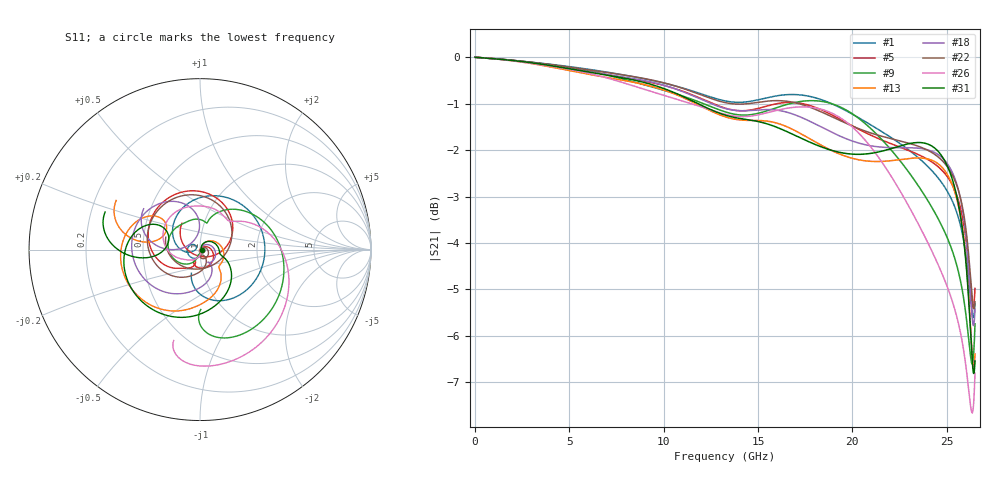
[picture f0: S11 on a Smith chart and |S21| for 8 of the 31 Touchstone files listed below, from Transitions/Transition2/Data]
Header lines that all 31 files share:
! TOUCHSTONE file generated by CST MICROWAVE STUDIO
! Project name: OSHPark_FR408_Transition2.cst
! Header version: 2015
! Port assignment regex: !\s*Touchstone port\s*([0-9]+)\s*=\s*CST MWS port\s*([0-9]+)\s*\(\"(.*)\"\)(\s*mode\s*([0-9]+))?.*
! Touchstone port assignment:
! Touchstone port 1 = CST MWS port 1 ("")
! Touchstone port 2 = CST MWS port 2 ("")
# GHz S MA R 50
Fixed: Cap_Disk_XOffset = 0, Cap_Disk2_YCenter = -1.03, Cap_Disk_YCenter = 1.03, Cap_Disk_XCenter = 7.39, Cap_Disk_Radius = 0.5, BottomSupport_Left_YMax = 4.76, BottomSupport_Left_YMin = 3.74, BottomSupport_Right_YMax = -3.74, BottomSupport_Right_YMin = -4.76, BottomSupport_XMax = 11.64, BottomSupport_XMin = 6.89, BottomSupport_ZMax = -1.64084, BottomSupport_ZMin = -3.58, Cu1_Thickness = 0.03556, Cu2_Thickness = 0.01778, Fr408Core_Thickness = 1.1938, PCBThickness = 1.6256, Prepreg1_Zmin = -0.20574, Prepreg_Thickness = 0.17018, RFTraceYMax = 0.17145, RFTrace_XMax = 15, RFTrace_XMin = 11.46, RFTrace_YMin = -0.17145, SMA_CenterCond_Inner_XMax = 11.64, SMA_CenterCond_Radius = 0.6, SMA_Dielectric_InnerRadius = 0.6, SMA_Dielectric_OuterRadius = 2, SMA_Dielectric_XMax = 5.62, SMA_Dielectric_XMin = 0, SMA_Dielectric_YCenter = 0, SMA_Dielectric_ZCenter = 0, SMA_Footprint_Center_XMax = 12.49, SMA_Footprint_Center_XMin = 7.74, SMA_Footprint_Center_YMax = 0.75, SMA_Footprint_Center_YMin = -0.75, SMA_OuterCond_InnerRadius = 2, SMA_OuterCond_OuterRadius = 3, SMA_OuterCond_XMax = 6.89, SMA_XMax = 6.67, SMA_XMin = 0
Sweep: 5.3 MHz to 26.5 GHz
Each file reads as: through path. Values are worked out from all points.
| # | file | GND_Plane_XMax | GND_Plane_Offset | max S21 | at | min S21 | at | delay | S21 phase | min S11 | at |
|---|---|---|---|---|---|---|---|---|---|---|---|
| 1 | OSHPark_FR408_Transition2_SParams.s2p | 12 | 2.875 | 0.00 dB | 10.6 MHz | -5.6 dB | 26.42 GHz | 81.1 ps | -20 deg at 13.26 GHz | -40.0 dB | 3.583 GHz |
| 2 | OSHPark_FR408_Transition2_SParams_Swept_1.s2p | 11.5 | 2.8 | 0.00 dB | 5.3 MHz | -7.7 dB | 26.39 GHz | 82.3 ps | -26 deg at 13.26 GHz | -38.2 dB | 5.3 MHz |
| 3 | OSHPark_FR408_Transition2_SParams_Swept_2.s2p | 11.75 | 2.8 | 0.00 dB | 5.3 MHz | -6.5 dB | 26.35 GHz | 81.7 ps | -23 deg at 13.26 GHz | -38.2 dB | 5.3 MHz |
| 4 | OSHPark_FR408_Transition2_SParams_Swept_3.s2p | 12 | 2.8 | 0.00 dB | 5.3 MHz | -5.6 dB | 26.38 GHz | 81 ps | -20 deg at 13.26 GHz | -40.7 dB | 1.897 GHz |
| 5 | OSHPark_FR408_Transition2_SParams_Swept_4.s2p | 12.25 | 2.8 | 0.00 dB | 5.3 MHz | -5.4 dB | 26.4 GHz | 80.7 ps | -19 deg at 13.26 GHz | -40.0 dB | 784.4 MHz |
| 6 | OSHPark_FR408_Transition2_SParams_Swept_5.s2p | 12.5 | 2.8 | 0.00 dB | 5.3 MHz | -5.7 dB | 26.42 GHz | 80.7 ps | -20 deg at 13.26 GHz | -39.5 dB | 402.8 MHz |
| 7 | OSHPark_FR408_Transition2_SParams_Swept_6.s2p | 12.75 | 2.8 | 0.00 dB | 5.3 MHz | -6.6 dB | 26.43 GHz | 80.6 ps | -20 deg at 13.26 GHz | -39.3 dB | 243.8 MHz |
| 8 | OSHPark_FR408_Transition2_SParams_Swept_8.s2p | 11.5 | 2.825 | 0.00 dB | 5.3 MHz | -7.9 dB | 26.35 GHz | 82.3 ps | -26 deg at 13.26 GHz | -39.5 dB | 5.3 MHz |
| 9 | OSHPark_FR408_Transition2_SParams_Swept_9.s2p | 11.75 | 2.825 | 0.00 dB | 5.3 MHz | -6.6 dB | 26.35 GHz | 81.8 ps | -23 deg at 13.26 GHz | -39.5 dB | 5.3 MHz |
| 10 | OSHPark_FR408_Transition2_SParams_Swept_10.s2p | 12 | 2.825 | 0.00 dB | 5.3 MHz | -5.6 dB | 26.38 GHz | 81.1 ps | -20 deg at 13.26 GHz | -43.0 dB | 1.537 GHz |
| 11 | OSHPark_FR408_Transition2_SParams_Swept_11.s2p | 12.25 | 2.825 | 0.00 dB | 5.3 MHz | -5.5 dB | 26.4 GHz | 80.7 ps | -19 deg at 13.26 GHz | -44.1 dB | 620.1 MHz |
| 12 | OSHPark_FR408_Transition2_SParams_Swept_12.s2p | 12.5 | 2.825 | 0.00 dB | 5.3 MHz | -5.9 dB | 26.42 GHz | 80.7 ps | -20 deg at 13.26 GHz | -43.7 dB | 339.2 MHz |
| 13 | OSHPark_FR408_Transition2_SParams_Swept_13.s2p | 12.75 | 2.825 | 0.00 dB | 5.3 MHz | -6.7 dB | 26.43 GHz | 80.8 ps | -21 deg at 13.26 GHz | -43.5 dB | 238.5 MHz |
| 14 | OSHPark_FR408_Transition2_SParams_Swept_15.s2p | 11.5 | 2.85 | 0.00 dB | 5.3 MHz | -7.9 dB | 26.36 GHz | 82.4 ps | -25 deg at 13.26 GHz | -38.2 dB | 5.3 MHz |
| 15 | OSHPark_FR408_Transition2_SParams_Swept_16.s2p | 11.75 | 2.85 | 0.00 dB | 5.3 MHz | -6.6 dB | 26.35 GHz | 81.8 ps | -23 deg at 13.26 GHz | -38.2 dB | 5.3 MHz |
| 16 | OSHPark_FR408_Transition2_SParams_Swept_17.s2p | 12 | 2.85 | 0.00 dB | 5.3 MHz | -5.6 dB | 26.37 GHz | 81.2 ps | -20 deg at 13.26 GHz | -38.5 dB | 3.143 GHz |
| 17 | OSHPark_FR408_Transition2_SParams_Swept_18.s2p | 12.25 | 2.85 | 0.00 dB | 5.3 MHz | -5.4 dB | 26.4 GHz | 80.8 ps | -20 deg at 13.26 GHz | -43.9 dB | 1.696 GHz |
| 18 | OSHPark_FR408_Transition2_SParams_Swept_19.s2p | 12.5 | 2.85 | 0.00 dB | 5.3 MHz | -5.8 dB | 26.42 GHz | 80.9 ps | -20 deg at 13.26 GHz | -40.5 dB | 832.1 MHz |
| 19 | OSHPark_FR408_Transition2_SParams_Swept_20.s2p | 12.75 | 2.85 | 0.00 dB | 5.3 MHz | -6.5 dB | 26.43 GHz | 81 ps | -21 deg at 13.26 GHz | -39.8 dB | 477 MHz |
| 20 | OSHPark_FR408_Transition2_SParams_Swept_22.s2p | 11.5 | 2.875 | 0.00 dB | 5.3 MHz | -7.9 dB | 26.33 GHz | 82.4 ps | -25 deg at 13.26 GHz | -37.7 dB | 5.3 MHz |
| 21 | OSHPark_FR408_Transition2_SParams_Swept_23.s2p | 11.75 | 2.875 | 0.00 dB | 5.3 MHz | -6.6 dB | 26.35 GHz | 81.9 ps | -23 deg at 13.26 GHz | -37.8 dB | 5.3 MHz |
| 22 | OSHPark_FR408_Transition2_SParams_Swept_25.s2p | 12.25 | 2.875 | 0.00 dB | 10.6 MHz | -5.4 dB | 26.44 GHz | 80.8 ps | -19 deg at 13.26 GHz | -44.5 dB | 1.839 GHz |
| 23 | OSHPark_FR408_Transition2_SParams_Swept_26.s2p | 12.5 | 2.875 | 0.00 dB | 5.3 MHz | -5.9 dB | 26.46 GHz | 80.8 ps | -20 deg at 13.26 GHz | -40.3 dB | 916.9 MHz |
| 24 | OSHPark_FR408_Transition2_SParams_Swept_27.s2p | 12.75 | 2.875 | 0.00 dB | 10.6 MHz | -6.8 dB | 26.46 GHz | 80.9 ps | -21 deg at 13.26 GHz | -39.0 dB | 439.9 MHz |
| 25 | OSHPark_FR408_Transition2_SParams_Swept_28.s2p | 13 | 2.875 | 0.00 dB | 10.6 MHz | -7.8 dB | 26.46 GHz | 80.9 ps | -21 deg at 13.26 GHz | -38.8 dB | 286.2 MHz |
| 26 | OSHPark_FR408_Transition2_SParams_Swept_29.s2p | 11.5 | 2.9 | 0.00 dB | 5.3 MHz | -7.7 dB | 26.35 GHz | 82.4 ps | -25 deg at 13.26 GHz | -39.3 dB | 5.3 MHz |
| 27 | OSHPark_FR408_Transition2_SParams_Swept_30.s2p | 11.75 | 2.9 | 0.00 dB | 10.6 MHz | -6.4 dB | 26.36 GHz | 81.9 ps | -23 deg at 13.26 GHz | -39.4 dB | 5.3 MHz |
| 28 | OSHPark_FR408_Transition2_SParams_Swept_31.s2p | 12 | 2.9 | 0.00 dB | 5.3 MHz | -5.4 dB | 26.38 GHz | 81.2 ps | -20 deg at 13.26 GHz | -43.5 dB | 13.11 GHz |
| 29 | OSHPark_FR408_Transition2_SParams_Swept_32.s2p | 12.25 | 2.9 | 0.00 dB | 10.6 MHz | -5.3 dB | 26.41 GHz | 81 ps | -20 deg at 13.26 GHz | -54.0 dB | 2.92 GHz |
| 30 | OSHPark_FR408_Transition2_SParams_Swept_33.s2p | 12.5 | 2.9 | 0.00 dB | 10.6 MHz | -5.8 dB | 26.43 GHz | 81.1 ps | -21 deg at 13.26 GHz | -47.3 dB | 1.495 GHz |
| 31 | OSHPark_FR408_Transition2_SParams_Swept_34.s2p | 12.75 | 2.9 | 0.00 dB | 10.6 MHz | -6.8 dB | 26.43 GHz | 81 ps | -21 deg at 13.26 GHz | -41.8 dB | 667.8 MHz |
